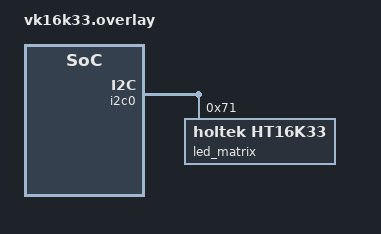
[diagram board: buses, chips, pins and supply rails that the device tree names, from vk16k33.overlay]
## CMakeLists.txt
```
# cmake boilerplate
cmake_minimum_required(VERSION 3.5.0)

set(REIKI_ROOT_DIR ${CMAKE_CURRENT_LIST_DIR}/../../)

# add modules
list(APPEND EXTRA_ZEPHYR_MODULES
    ${REIKI_ROOT_DIR}/sdk/               # include Reiki SDK
)

# import overlays for CPUs
# set(DTC_OVERLAY_FILE ${PROJECT_ROOT_DIR}/overlays/waveshare_1_47_tft_esp32c6.overlay)
# set(DTC_OVERLAY_FILE ${CMAKE_CURRENT_LIST_DIR}/vk16k33.overlay)

# add extra configuration
set(EXTRA_CONF_FILE ${CMAKE_CURRENT_LIST_DIR}/prj.conf)

# add zephyr package
find_package(Zephyr REQUIRED HINTS $ENV{ZEPHYR_BASE})

# declare project
project(GifyESP32Zephyr)

# add sources
file(GLOB_RECURSE srcs ${CMAKE_CURRENT_LIST_DIR}/src/*.c*)

target_sources(app
    PRIVATE ${srcs}
)

target_include_directories(app
    PUBLIC ${CMAKE_CURRENT_LIST_DIR}/include/
)
```

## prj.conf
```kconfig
# compiler settings
CONFIG_ASSERT=y
CONFIG_CPP=y
CONFIG_STD_CPP2B=y
CONFIG_REQUIRES_FULL_LIBCPP=y
CONFIG_CPP_EXCEPTIONS=y
CONFIG_CPP_RTTI=y

CONFIG_DEBUG_OPTIMIZATIONS=y
CONFIG_COMPILER_SAVE_TEMPS=y
CONFIG_COMPILER_WARNINGS_AS_ERRORS=y

# CONFIG_NEWLIB_LIBC=y
# CONFIG_COMMON_LIBC_ASCTIME_R=y
# CONFIG_COMMON_LIBC_CTIME_R=y
# CONFIG_COMMON_LIBC_MALLOC=y
# CONFIG_NEWLIB_LIBC_FLOAT_PRINTF=y
# CONFIG_NEWLIB_LIBC_HEAP_LISTENER=y

# CONFIG_HEAP_MEM_POOL_SIZE=20000

# Debug settings
CONFIG_PRINTK=y
CONFIG_LOG=y
CONFIG_LOG_DEFAULT_LEVEL=2
CONFIG_SHELL_LOG_BACKEND=y
CONFIG_LOG_BACKEND_UART=y

# shell settings
CONFIG_SHELL=y
CONFIG_SHELL_PROMPT_UART="Reiki:~$ "

CONFIG_FILE_SYSTEM=y
CONFIG_FILE_SYSTEM_SHELL=y

CONFIG_GPIO=y
CONFIG_GPIO_SHELL=y

CONFIG_I2C=y
CONFIG_I2C_SHELL=y

CONFIG_SPI=y
CONFIG_SPI_SHELL=y

CONFIG_LED_GPIO=y
CONFIG_HT16K33=y
CONFIG_LED=y
CONFIG_LED_SHELL=y
```

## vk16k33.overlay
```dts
&i2c0{
    led_matrix:ht16k33@71 {
        reg =<0x71>;
        compatible = "holtek,ht16k33";
        status = "okay";
    };
};
```

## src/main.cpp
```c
#include <stdio.h>
#include <stdlib.h>
#include <ctime>

#include <zephyr/kernel.h>
#include <zephyr/device.h>
#include <zephyr/display/cfb.h>
#include <zephyr/drivers/gpio.h>

#include <zephyr/logging/log.h>
LOG_MODULE_REGISTER(main);

int main()
{
    LOG_INF("Reiki SDK Shell");
    k_thread_suspend(k_current_get());
    return 0;
}
```

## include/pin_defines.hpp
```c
#pragma once

#include <stdio.h>
#include <stdlib.h>

#include <zephyr/kernel.h>
#include <zephyr/drivers/gpio.h>

#define ZEPHYR_USER_NODE DT_PATH(zephyr_user)

#define POWER_OFF_GPIO  DT_GPIO_LABEL(ZEPHYR_USER_NODE, power_off_gpios)
#define GYRO_CS_GPIO    DT_GPIO_LABEL(ZEPHYR_USER_NODE, gyro_cs_gpios)
#define BUMPER_LED_GPIO GPIO_DT_SPEC_GET(ZEPHYR_USER_NODE, bumper_leds_gpios)

#define TFT1_CS_GPIO  DT_GPIO_LABEL(ZEPHYR_USER_NODE, tft1_cs_gpios)
#define TFT1_LED_GPIO DT_GPIO_LABEL(ZEPHYR_USER_NODE, tft1_led_gpios)

#define TFT2_CS_GPIO  DT_GPIO_LABEL(ZEPHYR_USER_NODE, tft2_cs_gpios)
#define TFT2_LED_GPIO DT_GPIO_LABEL(ZEPHYR_USER_NODE, tft2_led_gpios)
```
